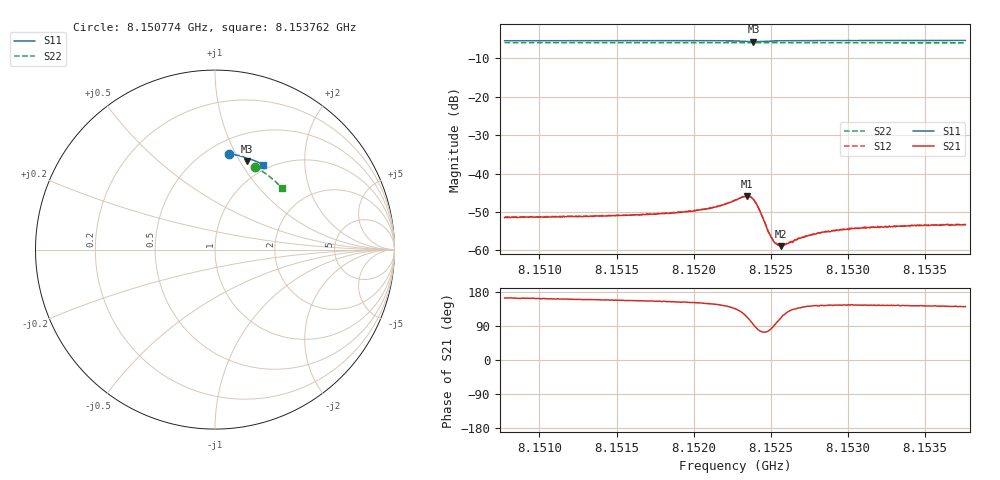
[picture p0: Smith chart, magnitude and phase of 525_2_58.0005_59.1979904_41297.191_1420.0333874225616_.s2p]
#  HZ  S  RI  R  50.00
! Rohde & Schwarz Vector Network Analyzer
! Rohde-Schwarz,ZNB20-2Port,1311601062101988,3.16
! Created: UTC 3/21/2024, 1:13:51 AM
! freq[Hz]  re:S11  im:S11  re:S21  im:S21  re:S12  im:S12  re:S22  im:S22
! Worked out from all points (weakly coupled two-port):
!   401 points, 8.150774 GHz to 8.153762 GHz, reference 50 ohm
!   highest |S21| = -45.86 dB at 8.152343 GHz (marker M1); lowest = -59.0 dB at 8.152567 GHz (marker M2)
!   lowest |S11| = -5.6 dB at 8.152388 GHz (marker M3), VSWR 3.19, Z = 39.6 + j53.6 ohm
!   |S11| at or under -10 dB: nowhere
!   |S22| runs from -5.9 to -5.8 dB; largest |S21 - S12| = 0.00012
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8.150774e9  0.0756 0.5338  -0.00255 0.000749  -0.00261 0.000799  0.2216 0.4596
8.1512745e9  0.1104 0.5286  -0.00256 0.000973  -0.00259 0.000996  0.2498 0.4443
8.1517751e9  0.1452 0.5206  -0.0027 0.00124  -0.00272 0.00129  0.2767 0.4272
8.1519469e9  0.1575 0.517  -0.0028 0.00147  -0.00283 0.00149  0.2858 0.4208
8.1520888e9  0.1681 0.5132  -0.00297 0.00182  -0.00295 0.00182  0.2931 0.4155
8.1521785e9  0.1752 0.5098  -0.00312 0.0022  -0.00312 0.00227  0.2977 0.412
8.1522681e9  0.1823 0.5038  -0.0032 0.00313  -0.00315 0.00322  0.3022 0.4082
8.1523428e9  0.1837 0.4944  -0.00212 0.00463  -0.00208 0.00466  0.3058 0.4051
8.1523653e9  0.1812 0.492  -0.00127 0.0048  -0.0012 0.00486  0.3065 0.4042
8.1523877e9  0.1779 0.4916  -0.000258 0.00458  -0.000203 0.00461  0.3077 0.4034
8.152425e9  0.1744 0.4959  0.000714 0.00333  0.000761 0.00333  0.3094 0.4023
8.1524848e9  0.1782 0.5025  0.000398 0.00166  0.000414 0.00169  0.3126 0.4003
8.1525072e9  0.1807 0.5037  0.000144 0.00143  0.000189 0.00142  0.3135 0.3992
8.1525371e9  0.184 0.5045  -0.00018 0.0012  -0.000135 0.00122  0.3151 0.3982
8.152567e9  0.1869 0.5046  -0.000427 0.00104  -0.000396 0.00111  0.3166 0.3969
8.1526267e9  0.1925 0.5041  -0.000828 0.00096  -0.00081 0.000999  0.3196 0.3945
8.152694e9  0.1982 0.5029  -0.00106 0.000963  -0.00109 0.000963  0.3228 0.3917
8.1527687e9  0.204 0.5013  -0.00126 0.000965  -0.00129 0.000982  0.3266 0.3885
8.1528359e9  0.2089 0.4996  -0.0014 0.001  -0.00134 0.00103  0.3297 0.3856
8.1529928e9  0.2197 0.4956  -0.00152 0.0011  -0.00156 0.00113  0.3371 0.379
8.1532692e9  0.2379 0.4878  -0.00164 0.0012  -0.00168 0.0012  0.3498 0.3668
8.1537623e9  0.2688 0.4724  -0.00167 0.00135  -0.00167 0.00139  0.3711 0.3441
